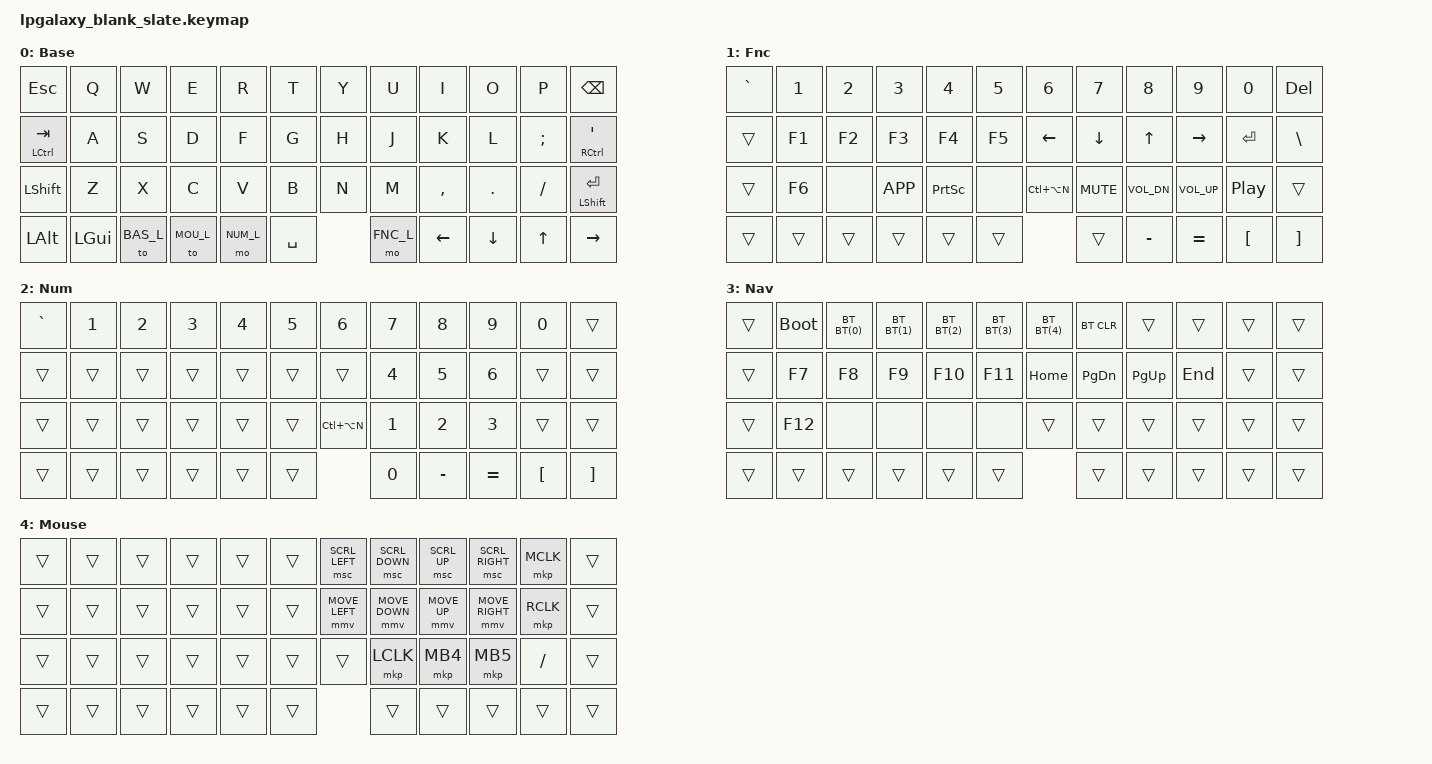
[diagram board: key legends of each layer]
/*
 * Copyright (c) 2022 Pete Johanson
 *
 * SPDX-License-Identifier: MIT
 */

#define ZMK_POINTING_DEFAULT_MOVE_VAL 1500

#include <behaviors.dtsi>
#include <dt-bindings/zmk/keys.h>
#include <dt-bindings/zmk/bt.h>
#include <dt-bindings/zmk/outputs.h>
#include <dt-bindings/zmk/pointing.h>

#define QWERTY_BASE 1

// #define TBLE_ORTHO   1
#define TBLE_MIT     1
// #define TBLE_DUAL_2U 1

#define BAS_L 0
#define FNC_L 1
#define NUM_L 2
#define NAV_L 3
#define MOU_L 4

// Using layer taps on thumbs, having quick tap as well helps w/ repeating space/backspace
&lt { quick_tap_ms = <200>; };

#define BT(n) BT_SEL n

/ {
    chosen {
       zmk,physical-layout =
#ifdef TBLE_DUAL_2U
                       &layout_ortho_4x12_2x2u;
#elif defined(TBLE_MIT)
                       &layout_ortho_4x12_1x2u;
#else
                       &layout_ortho_4x12_all1u;
#endif
    };

    macros {
    };

    tap_dances {
    };


    msc {
        time-to-max-speed-ms = <150>;
    };

    cond_layers {
      compatible = "zmk,conditional-layers";
      tri {
        if-layers = <FNC_L NUM_L>;
        then-layer = <NAV_L>;
      };
    };

    keymap {
        compatible = "zmk,keymap";

        base_layer {
            label = "Base";
            bindings = <
 &kp ESC       &kp Q       &kp W      &kp E       &kp R          &kp T          &kp Y            &kp U          &kp I       &kp O      &kp P         &kp BKSP
 &mt LCTL TAB  &kp A       &kp S      &kp D       &kp F          &kp G          &kp H            &kp J          &kp K       &kp L      &kp SEMI      &mt RCTL QUOT
 &kp LSHFT     &kp Z       &kp X      &kp C       &kp V          &kp B          &kp N            &kp M          &kp COMMA   &kp DOT    &kp FSLH      &mt LSHFT RET
 &kp LALT      &kp LGUI    &to BAS_L  &to MOU_L   &mo NUM_L            &kp SPACE                 &mo FNC_L      &kp LEFT    &kp DOWN   &kp UP        &kp RIGHT
            >;
        };

        fnc_layer {
            label = "Fnc";
            bindings = <
 &kp GRAVE  &kp N1     &kp N2     &kp N3       &kp N4          &kp N5         &kp N6           &kp N7         &kp N8      &kp N9       &kp N0      &kp DEL
 &trans     &kp F1     &kp F2     &kp F3       &kp F4          &kp F5         &kp LEFT         &kp DOWN       &kp UP      &kp RIGHT    &kp RET     &kp BSLH
 &trans     &kp F6     &none      &kp K_APP    &kp PSCRN       &none          &kp LC(LA(N))    &kp C_MUTE     &kp C_VOL_DN &kp C_VOL_UP &kp C_PLAY_PAUSE &trans
 &trans     &trans     &trans     &trans       &trans                &trans                    &trans         &kp MINUS   &kp EQUAL     &kp LBKT    &kp RBKT
            >;
        };


        num_layer {
            label = "Num";
            bindings = <
 &kp GRAVE  &kp N1     &kp N2     &kp N3       &kp N4          &kp N5         &kp N6           &kp N7         &kp N8      &kp N9       &kp N0      &trans
 &trans     &trans     &trans     &trans       &trans          &trans         &trans           &kp N4         &kp N5      &kp N6       &trans      &trans
 &trans     &trans     &trans     &trans       &trans          &trans         &kp LC(LA(N))    &kp N1         &kp N2      &kp N3       &trans      &trans
 &trans     &trans     &trans     &trans       &trans                &trans                    &kp N0         &kp MINUS   &kp EQUAL     &kp LBKT    &kp RBKT
            >;
        };

        nav_layer {
            label = "Nav";
            bindings = <
 &trans     &bootloader &bt BT(0)  &bt BT(1)   &bt BT(2)       &bt BT(3)      &bt BT(4)        &bt BT_CLR     &trans      &trans       &trans      &trans
 &trans     &kp F7      &kp F8     &kp F9      &kp F10         &kp F11        &kp HOME         &kp PG_DN      &kp PG_UP   &kp END      &trans      &trans
 &trans     &kp F12     &none      &none       &none           &none          &trans           &trans         &trans      &trans       &trans      &trans
 &trans     &trans      &trans     &trans      &trans               &trans                     &trans         &trans      &trans       &trans      &trans
            >;
        };

        mouse_layer {
            label = "Mouse";
            bindings = <
 &trans     &trans      &trans     &trans      &trans         &trans          &msc SCRL_LEFT   &msc SCRL_DOWN &msc SCRL_UP   &msc SCRL_RIGHT    &mkp MCLK     &trans
 &trans     &trans      &trans     &trans      &trans         &trans          &mmv MOVE_LEFT   &mmv MOVE_DOWN &mmv MOVE_UP   &mmv MOVE_RIGHT    &mkp RCLK     &trans
 &trans     &trans      &trans     &trans      &trans         &trans          &trans           &mkp LCLK      &mkp MB4       &mkp MB5           &kp FSLH      &trans
 &trans     &trans      &trans     &trans      &trans                &trans                    &trans         &trans         &trans             &trans        &trans
            >;
        };
    };
};
